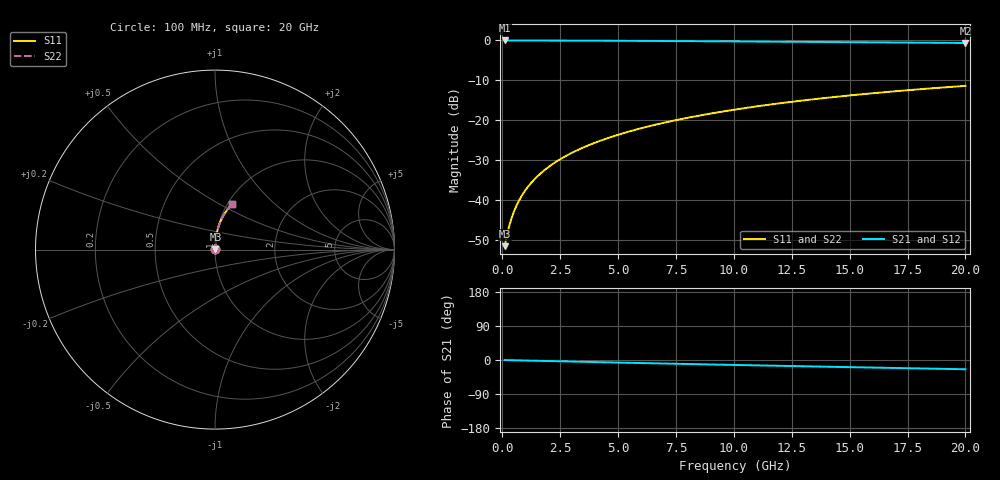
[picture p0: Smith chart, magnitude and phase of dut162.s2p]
! Touchstone file exported from HFSS 2024.1.0
!  File:  C:/UserFiles/LocalFiles/RDL_TSV_Batchsim/temp_RDL_bottom_162_1778697908.aedt
!  Generated:  02:47:26 AM May 14, 2026
!  Design:  RDL_bottom
!  Project:  temp_RDL_bottom_162_1778697908
!  Setup:  Setup1
!  Solution:  Sweep
! Variables:
!  dtsv = 10.80580581um
!  hbump = 3um
!  htsv = 56.14um
!  ldown = 315.38um
!  lrdl = 100um
!  p = 40
!  p1 = 44.5um
!  rhole = 1um
!  t = 450um
!  tdown = 3.1um
!  trdl = 3.915915916um
!  wdown = 17.57um
!  wrdl = 20um
# GHz S MA R 50.000000
! Terminal data exported
! Port[1] = RDL1_T1
! Port[2] = RDL1_T2
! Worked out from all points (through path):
!   200 points, 100 MHz to 20 GHz, reference 50 ohm
!   highest |S21| = -0.02 dB at 100 MHz (marker M1); lowest = -0.6 dB at 20 GHz (marker M2)
!   group delay of S21, straight-line fit = 3.37 ps
!   lowest |S11| = -51.5 dB at 100 MHz (marker M3), VSWR 1.01, Z = 50.2 + j0.139 ohm
!   |S11| at or under -10 dB: start of sweep to end of sweep
!   |S22| runs from -51.5 to -11.4 dB; largest |S21 - S12| = 2.2e-15
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0.1  0.002647 31.6  0.9977 -0.1  0.9977 -0.1  0.002647 31.6
! Gamma 0 0 0 0
! Port Impedance 50 0 50 0
0.2  0.003596 49.9  0.9977 -0.3  0.9977 -0.3  0.003596 49.9
0.3  0.004733 59.7  0.9976 -0.4  0.9976 -0.4  0.004733 59.7
0.4  0.005927 65.4  0.9975 -0.6  0.9975 -0.6  0.005927 65.4
0.5  0.007141 69.2  0.9974 -0.7  0.9974 -0.7  0.007141 69.2
0.6  0.008363 71.9  0.9973 -0.8  0.9973 -0.8  0.008363 71.9
0.8  0.01083 75.6  0.9971 -1.1  0.9971 -1.1  0.01083 75.6
1.1  0.01457 78.9  0.9968 -1.5  0.9968 -1.5  0.01457 78.9
1.3  0.01708 80.3  0.9966 -1.8  0.9966 -1.8  0.01708 80.3
1.6  0.02089 81.8  0.9963 -2.2  0.9963 -2.2  0.02089 81.8
2.1  0.0273 83.3  0.9956 -2.9  0.9956 -2.9  0.0273 83.3
2.7  0.03508 84.2  0.9945 -3.7  0.9945 -3.7  0.03508 84.3
3.5  0.04559 84.8  0.9928 -4.8  0.9928 -4.8  0.04559 84.8
4.2  0.05492 84.9  0.991 -5.7  0.991 -5.7  0.05492 84.9
5  0.06572 84.8  0.9887 -6.8  0.9887 -6.8  0.06572 84.8
5.9  0.07803 84.4  0.9858 -8.0  0.9858 -8.0  0.07803 84.4
6.8  0.09048 83.8  0.9828 -9.1  0.9828 -9.1  0.09048 83.8
8.4  0.1128 82.5  0.9769 -11.1  0.9769 -11.1  0.1128 82.5
10.1  0.1367 80.8  0.9703 -13.2  0.9703 -13.2  0.1367 80.8
13.4  0.1826 77.1  0.9569 -17.0  0.9569 -17.0  0.1826 77.2
16.7  0.227 73.3  0.9427 -20.8  0.9427 -20.8  0.2271 73.3
20  0.2695 69.5  0.9279 -24.4  0.9279 -24.4  0.2695 69.5
